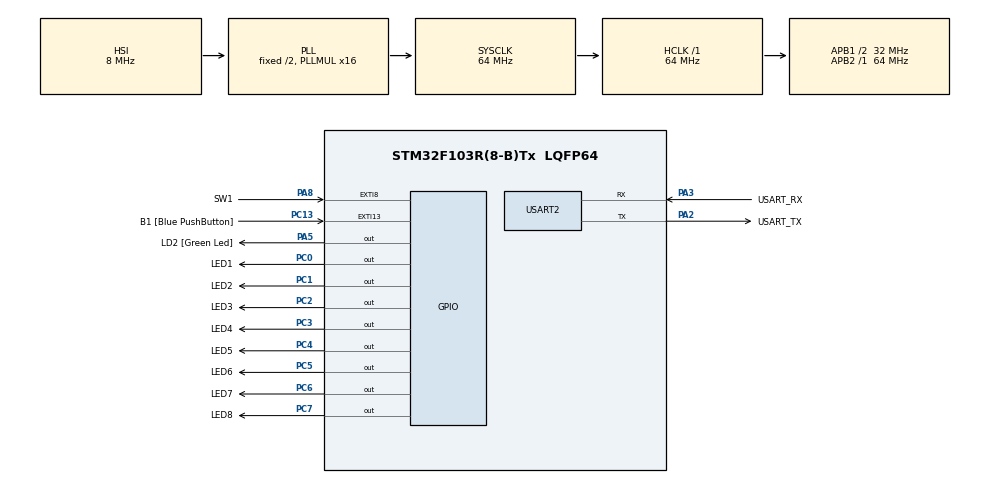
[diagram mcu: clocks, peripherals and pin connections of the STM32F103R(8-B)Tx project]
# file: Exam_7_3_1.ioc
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Mcu.Family=STM32F1
Mcu.Name=STM32F103R(8-B)Tx
Mcu.Package=LQFP64
NVIC.EXTI15_10_IRQn=true\:0\:0\:false\:false\:true\:true\:true\:true
NVIC.EXTI9_5_IRQn=true\:0\:0\:false\:false\:true\:true\:true\:true
NVIC.PriorityGroup=NVIC_PRIORITYGROUP_4
PA13.GPIO_Label=TMS
PA13.Mode=Serial_Wire
PA13.Signal=SYS_JTMS-SWDIO
PA14.GPIO_Label=TCK
PA14.Mode=Serial_Wire
PA14.Signal=SYS_JTCK-SWCLK
PA2.GPIO_Label=USART_TX
PA2.GPIO_Mode=GPIO_MODE_AF_PP
PA2.GPIO_PuPd=GPIO_NOPULL
PA2.GPIO_Speed=GPIO_SPEED_FREQ_LOW
PA2.Mode=Asynchronous
PA2.Signal=USART2_TX
PA3.GPIO_Label=USART_RX
PA3.GPIO_Mode=GPIO_MODE_AF_PP
PA3.GPIO_PuPd=GPIO_NOPULL
PA3.GPIO_Speed=GPIO_SPEED_FREQ_LOW
PA3.Mode=Asynchronous
PA3.Signal=USART2_RX
PA5.GPIO_Label=LD2 [Green Led]
PA5.GPIO_ModeDefaultOutputPP=GPIO_MODE_OUTPUT_PP
PA5.GPIO_PuPd=GPIO_NOPULL
PA5.GPIO_Speed=GPIO_SPEED_FREQ_LOW
PA5.Signal=GPIO_Output
PA8.GPIO_Label=SW1
PA8.GPIO_ModeDefaultEXTI=GPIO_MODE_IT_FALLING
PA8.Signal=GPXTI8
PB3.GPIO_Label=SWO
PB3.Signal=SYS_JTDO-TRACESWO
PC0.GPIO_Label=LED1
PC0.GPIO_ModeDefaultOutputPP=GPIO_MODE_OUTPUT_PP
PC0.GPIO_PuPd=GPIO_NOPULL
PC0.GPIO_Speed=GPIO_SPEED_FREQ_HIGH
PC0.PinState=GPIO_PIN_RESET
PC0.Signal=GPIO_Output
PC1.GPIO_Label=LED2
PC1.GPIO_ModeDefaultOutputPP=GPIO_MODE_OUTPUT_PP
PC1.GPIO_PuPd=GPIO_NOPULL
PC1.GPIO_Speed=GPIO_SPEED_FREQ_HIGH
PC1.PinState=GPIO_PIN_RESET
PC1.Signal=GPIO_Output
PC13-TAMPER-RTC.GPIO_Label=B1 [Blue PushButton]
PC13-TAMPER-RTC.GPIO_PuPd=GPIO_NOPULL
PC13-TAMPER-RTC.Signal=GPXTI13
PC14-OSC32_IN.Mode=LSE-External-Oscillator
PC14-OSC32_IN.Signal=RCC_OSC32_IN
PC15-OSC32_OUT.Mode=LSE-External-Oscillator
PC15-OSC32_OUT.Signal=RCC_OSC32_OUT
PC2.GPIO_Label=LED3
PC2.GPIO_ModeDefaultOutputPP=GPIO_MODE_OUTPUT_PP
PC2.GPIO_PuPd=GPIO_NOPULL
PC2.GPIO_Speed=GPIO_SPEED_FREQ_HIGH
PC2.PinState=GPIO_PIN_RESET
PC2.Signal=GPIO_Output
PC3.GPIO_Label=LED4
PC3.GPIO_ModeDefaultOutputPP=GPIO_MODE_OUTPUT_PP
PC3.GPIO_PuPd=GPIO_NOPULL
PC3.GPIO_Speed=GPIO_SPEED_FREQ_HIGH
PC3.PinState=GPIO_PIN_RESET
PC3.Signal=GPIO_Output
PC4.GPIO_Label=LED5
PC4.GPIO_ModeDefaultOutputPP=GPIO_MODE_OUTPUT_PP
PC4.GPIO_PuPd=GPIO_NOPULL
PC4.GPIO_Speed=GPIO_SPEED_FREQ_HIGH
PC4.PinState=GPIO_PIN_RESET
PC4.Signal=GPIO_Output
PC5.GPIO_Label=LED6
PC5.GPIO_ModeDefaultOutputPP=GPIO_MODE_OUTPUT_PP
PC5.GPIO_PuPd=GPIO_NOPULL
PC5.GPIO_Speed=GPIO_SPEED_FREQ_HIGH
PC5.PinState=GPIO_PIN_RESET
PC5.Signal=GPIO_Output
PC6.GPIO_Label=LED7
PC6.GPIO_ModeDefaultOutputPP=GPIO_MODE_OUTPUT_PP
PC6.GPIO_PuPd=GPIO_NOPULL
PC6.GPIO_Speed=GPIO_SPEED_FREQ_HIGH
PC6.PinState=GPIO_PIN_RESET
PC6.Signal=GPIO_Output
PC7.GPIO_Label=LED8
PC7.GPIO_ModeDefaultOutputPP=GPIO_MODE_OUTPUT_PP
PC7.GPIO_PuPd=GPIO_NOPULL
PC7.GPIO_Speed=GPIO_SPEED_FREQ_HIGH
PC7.PinState=GPIO_PIN_RESET
PC7.Signal=GPIO_Output
PD0-OSC_IN.Mode=HSE-External-Clock-Source
PD0-OSC_IN.Signal=RCC_OSC_IN
PD1-OSC_OUT.Mode=HSE-External-Clock-Source
PD1-OSC_OUT.Signal=RCC_OSC_OUT
ProjectManager.HeapSize=0x200
ProjectManager.StackSize=0x400
ProjectManager.TargetToolchain=STM32CubeIDE
RCC.AHBFreq_Value=64000000
RCC.APB1CLKDivider=RCC_HCLK_DIV2
RCC.APB1Freq_Value=32000000
RCC.APB1TimFreq_Value=64000000
RCC.APB2Freq_Value=64000000
RCC.APB2TimFreq_Value=64000000
RCC.HCLKFreq_Value=64000000
RCC.PLLMUL=RCC_PLL_MUL16
RCC.RTCClockSelection=RCC_RTCCLKSOURCE_LSE
RCC.SYSCLKFreq_VALUE=64000000
RCC.SYSCLKSource=RCC_SYSCLKSOURCE_PLLCLK
RCC.USBFreq_Value=64000000
USART2.VirtualMode=VM_ASYNC
board=NUCLEO-F103RB

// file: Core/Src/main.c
/* USER CODE BEGIN Header */
/**
  ******************************************************************************
  * @file           : main.c
  * @brief          : Main program body
  ******************************************************************************
  * @attention
  *
  * Copyright (c) 2022 STMicroelectronics.
  * All rights reserved.
  *
  * This software is licensed under terms that can be found in the LICENSE file
  * in the root directory of this software component.
  * If no LICENSE file comes with this software, it is provided AS-IS.
  *
  ******************************************************************************
  */
/* USER CODE END Header */
#include "main.h"

 UART_HandleTypeDef huart2;

/* USER CODE BEGIN PV */
uint8_t flag_SW1 = 0;
uint8_t flag_SW2 = 0;
/* USER CODE END PV */

void SystemClock_Config(void);
static void MX_GPIO_Init(void);
static void MX_USART2_UART_Init(void);

/* USER CODE BEGIN 0 */
void HAL_GPIO_EXTI_Callback(uint16_t GPIO_Pin) {
	  if(GPIO_Pin == GPIO_PIN_8) flag_SW1 = 1; //PA8 Switch
	  if(GPIO_Pin == GPIO_PIN_13) flag_SW1 = 2; //Blue Switch
}
/* USER CODE END 0 */

int main(void)
{

  /* MCU Configuration--------------------------------------------------------*/

  /* Reset of all peripherals, Initializes the Flash interface and the Systick. */
  HAL_Init();

  /* Configure the system clock */
  SystemClock_Config();

  /* Initialize all configured peripherals */
  MX_GPIO_Init();
  MX_USART2_UART_Init();

  /* Infinite loop */
  /* USER CODE BEGIN WHILE */
  while (1)
  {
	  if(flag_SW1 == 1) {
		  HAL_GPIO_WritePin(GPIOC, 0xaa, GPIO_PIN_SET);
		  HAL_Delay(1000);
		  HAL_GPIO_WritePin(GPIOC, 0xaa, GPIO_PIN_RESET);
		  flag_SW1 = 0;
	  }
	  if(flag_SW1 == 2) {
		  HAL_GPIO_WritePin(GPIOC, 0x55, GPIO_PIN_SET);
		  HAL_Delay(1000);
		  HAL_GPIO_WritePin(GPIOC, 0x55, GPIO_PIN_RESET);
		  flag_SW1 = 0;
	  }
    /* USER CODE END WHILE */

  }
}

void SystemClock_Config(void)
{
  RCC_OscInitTypeDef RCC_OscInitStruct = {0};
  RCC_ClkInitTypeDef RCC_ClkInitStruct = {0};

  /** Initializes the RCC Oscillators according to the specified parameters
  * in the RCC_OscInitTypeDef structure.
  */
  RCC_OscInitStruct.OscillatorType = RCC_OSCILLATORTYPE_HSI;
  RCC_OscInitStruct.HSIState = RCC_HSI_ON;
  RCC_OscInitStruct.HSICalibrationValue = RCC_HSICALIBRATION_DEFAULT;
  RCC_OscInitStruct.PLL.PLLState = RCC_PLL_ON;
  RCC_OscInitStruct.PLL.PLLSource = RCC_PLLSOURCE_HSI_DIV2;
  RCC_OscInitStruct.PLL.PLLMUL = RCC_PLL_MUL16;
  if (HAL_RCC_OscConfig(&RCC_OscInitStruct) != HAL_OK)
  {
    Error_Handler();
  }

  /** Initializes the CPU, AHB and APB buses clocks
  */
  RCC_ClkInitStruct.ClockType = RCC_CLOCKTYPE_HCLK|RCC_CLOCKTYPE_SYSCLK
                              |RCC_CLOCKTYPE_PCLK1|RCC_CLOCKTYPE_PCLK2;
  RCC_ClkInitStruct.SYSCLKSource = RCC_SYSCLKSOURCE_PLLCLK;
  RCC_ClkInitStruct.AHBCLKDivider = RCC_SYSCLK_DIV1;
  RCC_ClkInitStruct.APB1CLKDivider = RCC_HCLK_DIV2;
  RCC_ClkInitStruct.APB2CLKDivider = RCC_HCLK_DIV1;

  if (HAL_RCC_ClockConfig(&RCC_ClkInitStruct, FLASH_LATENCY_2) != HAL_OK)
  {
    Error_Handler();
  }
}

static void MX_USART2_UART_Init(void)
{

  huart2.Instance = USART2;
  huart2.Init.BaudRate = 115200;
  huart2.Init.WordLength = UART_WORDLENGTH_8B;
  huart2.Init.StopBits = UART_STOPBITS_1;
  huart2.Init.Parity = UART_PARITY_NONE;
  huart2.Init.Mode = UART_MODE_TX_RX;
  huart2.Init.HwFlowCtl = UART_HWCONTROL_NONE;
  huart2.Init.OverSampling = UART_OVERSAMPLING_16;
  if (HAL_UART_Init(&huart2) != HAL_OK)
  {
    Error_Handler();
  }

}

static void MX_GPIO_Init(void)
{
  GPIO_InitTypeDef GPIO_InitStruct = {0};

  /* GPIO Ports Clock Enable */
  __HAL_RCC_GPIOC_CLK_ENABLE();
  __HAL_RCC_GPIOD_CLK_ENABLE();
  __HAL_RCC_GPIOA_CLK_ENABLE();
  __HAL_RCC_GPIOB_CLK_ENABLE();

  /*Configure GPIO pin Output Level */
  HAL_GPIO_WritePin(GPIOC, LED1_Pin|LED2_Pin|LED3_Pin|LED4_Pin
                          |LED5_Pin|LED6_Pin|LED7_Pin|LED8_Pin, GPIO_PIN_RESET);

  /*Configure GPIO pin Output Level */
  HAL_GPIO_WritePin(LD2_GPIO_Port, LD2_Pin, GPIO_PIN_RESET);

  /*Configure GPIO pin : B1_Pin */
  GPIO_InitStruct.Pin = B1_Pin;
  GPIO_InitStruct.Mode = GPIO_MODE_IT_RISING;
  GPIO_InitStruct.Pull = GPIO_NOPULL;
  HAL_GPIO_Init(B1_GPIO_Port, &GPIO_InitStruct);

  /*Configure GPIO pins : LED1_Pin LED2_Pin LED3_Pin LED4_Pin
                           LED5_Pin LED6_Pin LED7_Pin LED8_Pin */
  GPIO_InitStruct.Pin = LED1_Pin|LED2_Pin|LED3_Pin|LED4_Pin
                          |LED5_Pin|LED6_Pin|LED7_Pin|LED8_Pin;
  GPIO_InitStruct.Mode = GPIO_MODE_OUTPUT_PP;
  GPIO_InitStruct.Pull = GPIO_NOPULL;
  GPIO_InitStruct.Speed = GPIO_SPEED_FREQ_HIGH;
  HAL_GPIO_Init(GPIOC, &GPIO_InitStruct);

  /*Configure GPIO pin : LD2_Pin */
  GPIO_InitStruct.Pin = LD2_Pin;
  GPIO_InitStruct.Mode = GPIO_MODE_OUTPUT_PP;
  GPIO_InitStruct.Pull = GPIO_NOPULL;
  GPIO_InitStruct.Speed = GPIO_SPEED_FREQ_LOW;
  HAL_GPIO_Init(LD2_GPIO_Port, &GPIO_InitStruct);

  /*Configure GPIO pin : SW1_Pin */
  GPIO_InitStruct.Pin = SW1_Pin;
  GPIO_InitStruct.Mode = GPIO_MODE_IT_FALLING;
  GPIO_InitStruct.Pull = GPIO_NOPULL;
  HAL_GPIO_Init(SW1_GPIO_Port, &GPIO_InitStruct);

  /* EXTI interrupt init*/
  HAL_NVIC_SetPriority(EXTI9_5_IRQn, 0, 0);
  HAL_NVIC_EnableIRQ(EXTI9_5_IRQn);

  HAL_NVIC_SetPriority(EXTI15_10_IRQn, 0, 0);
  HAL_NVIC_EnableIRQ(EXTI15_10_IRQn);

}

void Error_Handler(void)
{
  __disable_irq();
  while (1)
  {
  }
}
